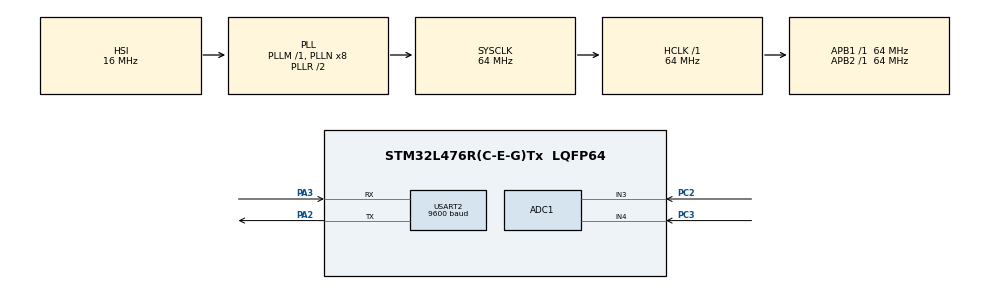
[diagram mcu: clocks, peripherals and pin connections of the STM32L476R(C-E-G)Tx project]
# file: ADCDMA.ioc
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ADC1.Channel-1\#ChannelRegularConversion=ADC_CHANNEL_3
ADC1.Channel-2\#ChannelRegularConversion=ADC_CHANNEL_4
ADC1.ContinuousConvMode=ENABLE
ADC1.DMAContinuousRequests=ENABLE
ADC1.EOCSelection=ADC_EOC_SEQ_CONV
ADC1.NbrOfConversion=2
ADC1.NbrOfConversionFlag=1
ADC1.OffsetNumber-1\#ChannelRegularConversion=ADC_OFFSET_NONE
ADC1.OffsetNumber-2\#ChannelRegularConversion=ADC_OFFSET_NONE
ADC1.Overrun=ADC_OVR_DATA_OVERWRITTEN
ADC1.Rank-1\#ChannelRegularConversion=1
ADC1.Rank-2\#ChannelRegularConversion=2
ADC1.SamplingTime-1\#ChannelRegularConversion=ADC_SAMPLETIME_2CYCLES_5
ADC1.SamplingTime-2\#ChannelRegularConversion=ADC_SAMPLETIME_2CYCLES_5
ADC1.master=1
Dma.ADC1.0.Direction=DMA_PERIPH_TO_MEMORY
Dma.ADC1.0.Instance=DMA1_Channel1
Dma.ADC1.0.MemDataAlignment=DMA_MDATAALIGN_HALFWORD
Dma.ADC1.0.MemInc=DMA_MINC_ENABLE
Dma.ADC1.0.Mode=DMA_NORMAL
Dma.ADC1.0.PeriphDataAlignment=DMA_PDATAALIGN_HALFWORD
Dma.ADC1.0.PeriphInc=DMA_PINC_DISABLE
Dma.ADC1.0.Priority=DMA_PRIORITY_LOW
Dma.Request0=ADC1
Mcu.Family=STM32L4
Mcu.Name=STM32L476R(C-E-G)Tx
Mcu.Package=LQFP64
NVIC.DMA1_Channel1_IRQn=true\:0\:0\:false\:false\:true\:false\:true\:true
NVIC.PriorityGroup=NVIC_PRIORITYGROUP_4
PA2.Mode=Asynchronous
PA2.Signal=USART2_TX
PA3.Mode=Asynchronous
PA3.Signal=USART2_RX
PC2.Signal=ADCx_IN3
PC3.Signal=ADCx_IN4
ProjectManager.HeapSize=0x200
ProjectManager.StackSize=0x400
ProjectManager.TargetToolchain=STM32CubeIDE
RCC.ADCFreq_Value=64000000
RCC.AHBFreq_Value=64000000
RCC.APB1Freq_Value=64000000
RCC.APB1TimFreq_Value=64000000
RCC.APB2Freq_Value=64000000
RCC.APB2TimFreq_Value=64000000
RCC.CortexFreq_Value=64000000
RCC.HCLKFreq_Value=64000000
RCC.HSE_VALUE=8000000
RCC.HSI_VALUE=16000000
RCC.LSE_VALUE=32768
RCC.MSI_VALUE=4000000
RCC.PLLSourceVirtual=RCC_PLLSOURCE_HSI
RCC.SYSCLKFreq_VALUE=64000000
RCC.SYSCLKSource=RCC_SYSCLKSOURCE_PLLCLK
RCC.USBFreq_Value=64000000
RCC.VCOOutputFreq_Value=128000000
SH.ADCx_IN3.0=ADC1_IN3,IN3-Single-Ended
SH.ADCx_IN4.0=ADC1_IN4,IN4-Single-Ended
USART2.BaudRate=9600
USART2.VirtualMode-Asynchronous=VM_ASYNC
board=custom

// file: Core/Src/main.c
/* USER CODE BEGIN Header */
/**
  ******************************************************************************
  * @file           : main.c
  * @brief          : Main program body
  ******************************************************************************
  * @attention
  *
  * Copyright (c) 2024 STMicroelectronics.
  * All rights reserved.
  *
  * This software is licensed under terms that can be found in the LICENSE file
  * in the root directory of this software component.
  * If no LICENSE file comes with this software, it is provided AS-IS.
  *
  ******************************************************************************
  */
/* USER CODE END Header */
#include "main.h"

/* USER CODE BEGIN Includes */
#include "stdio.h"
#include "string.h"
/* USER CODE END Includes */

/* USER CODE BEGIN PTD */
//x
/* USER CODE END PTD */

ADC_HandleTypeDef hadc1;
DMA_HandleTypeDef hdma_adc1;

UART_HandleTypeDef huart2;

/* USER CODE BEGIN PV */
uint16_t adcBuffer[2];
volatile uint8_t convCompleted=0;

void HAL_ADCConvCpltCallback(ADC_HandleTypeDef *hadc1)
{

	convCompleted =1;

}

/* USER CODE END PV */

void SystemClock_Config(void);
static void MX_GPIO_Init(void);
static void MX_DMA_Init(void);
static void MX_ADC1_Init(void);
static void MX_USART2_UART_Init(void);

int main(void)
{
  /* USER CODE BEGIN 1 */
char send[20];
float mv;
  /* USER CODE END 1 */

  /* MCU Configuration--------------------------------------------------------*/

  /* Reset of all peripherals, Initializes the Flash interface and the Systick. */
  HAL_Init();

  /* Configure the system clock */
  SystemClock_Config();

  /* Initialize all configured peripherals */
  MX_GPIO_Init();
  MX_DMA_Init();
  MX_ADC1_Init();
  MX_USART2_UART_Init();
  /* USER CODE BEGIN 2 */
HAL_ADC_Start_DMA(&hadc1, (uint32_t *)adcBuffer, 2);
  /* USER CODE END 2 */

  /* Infinite loop */
  /* USER CODE BEGIN WHILE */
  while (1)
  {
	 // while(!convCompleted);
	  HAL_ADC_Stop_DMA(&hadc1);
	  convCompleted=0;

	  mv=((float)adcBuffer[0])*3300.0/4095.0;
	  sprintf(send, "Voltage 0 input : %f\r\n", mv);
	  HAL_UART_Transmit(&huart2, send, strlen(send) , HAL_MAX_DELAY);

	  mv=((float)adcBuffer[1])*3300.0/4095.0;
	  sprintf(send, "Voltage 1 input : %f\r\n", mv);
	  HAL_UART_Transmit(&huart2, send, strlen(send) , HAL_MAX_DELAY);

	  HAL_Delay(1000);
	  HAL_ADC_Start_DMA(&hadc1, (uint32_t *)adcBuffer, 2);
    /* USER CODE END WHILE */

  }
}

void SystemClock_Config(void)
{
  RCC_OscInitTypeDef RCC_OscInitStruct = {0};
  RCC_ClkInitTypeDef RCC_ClkInitStruct = {0};

  /** Configure the main internal regulator output voltage
  */
  if (HAL_PWREx_ControlVoltageScaling(PWR_REGULATOR_VOLTAGE_SCALE1) != HAL_OK)
  {
    Error_Handler();
  }

  /** Initializes the RCC Oscillators according to the specified parameters
  * in the RCC_OscInitTypeDef structure.
  */
  RCC_OscInitStruct.OscillatorType = RCC_OSCILLATORTYPE_HSI;
  RCC_OscInitStruct.HSIState = RCC_HSI_ON;
  RCC_OscInitStruct.HSICalibrationValue = RCC_HSICALIBRATION_DEFAULT;
  RCC_OscInitStruct.PLL.PLLState = RCC_PLL_ON;
  RCC_OscInitStruct.PLL.PLLSource = RCC_PLLSOURCE_HSI;
  RCC_OscInitStruct.PLL.PLLM = 1;
  RCC_OscInitStruct.PLL.PLLN = 8;
  RCC_OscInitStruct.PLL.PLLP = RCC_PLLP_DIV7;
  RCC_OscInitStruct.PLL.PLLQ = RCC_PLLQ_DIV2;
  RCC_OscInitStruct.PLL.PLLR = RCC_PLLR_DIV2;
  if (HAL_RCC_OscConfig(&RCC_OscInitStruct) != HAL_OK)
  {
    Error_Handler();
  }

  /** Initializes the CPU, AHB and APB buses clocks
  */
  RCC_ClkInitStruct.ClockType = RCC_CLOCKTYPE_HCLK|RCC_CLOCKTYPE_SYSCLK
                              |RCC_CLOCKTYPE_PCLK1|RCC_CLOCKTYPE_PCLK2;
  RCC_ClkInitStruct.SYSCLKSource = RCC_SYSCLKSOURCE_PLLCLK;
  RCC_ClkInitStruct.AHBCLKDivider = RCC_SYSCLK_DIV1;
  RCC_ClkInitStruct.APB1CLKDivider = RCC_HCLK_DIV1;
  RCC_ClkInitStruct.APB2CLKDivider = RCC_HCLK_DIV1;

  if (HAL_RCC_ClockConfig(&RCC_ClkInitStruct, FLASH_LATENCY_3) != HAL_OK)
  {
    Error_Handler();
  }
}

static void MX_ADC1_Init(void)
{

  ADC_MultiModeTypeDef multimode = {0};
  ADC_ChannelConfTypeDef sConfig = {0};

  /** Common config
  */
  hadc1.Instance = ADC1;
  hadc1.Init.ClockPrescaler = ADC_CLOCK_ASYNC_DIV1;
  hadc1.Init.Resolution = ADC_RESOLUTION_12B;
  hadc1.Init.DataAlign = ADC_DATAALIGN_RIGHT;
  hadc1.Init.ScanConvMode = ADC_SCAN_ENABLE;
  hadc1.Init.EOCSelection = ADC_EOC_SEQ_CONV;
  hadc1.Init.LowPowerAutoWait = DISABLE;
  hadc1.Init.ContinuousConvMode = ENABLE;
  hadc1.Init.NbrOfConversion = 2;
  hadc1.Init.DiscontinuousConvMode = DISABLE;
  hadc1.Init.ExternalTrigConv = ADC_SOFTWARE_START;
  hadc1.Init.ExternalTrigConvEdge = ADC_EXTERNALTRIGCONVEDGE_NONE;
  hadc1.Init.DMAContinuousRequests = ENABLE;
  hadc1.Init.Overrun = ADC_OVR_DATA_OVERWRITTEN;
  hadc1.Init.OversamplingMode = DISABLE;
  if (HAL_ADC_Init(&hadc1) != HAL_OK)
  {
    Error_Handler();
  }

  /** Configure the ADC multi-mode
  */
  multimode.Mode = ADC_MODE_INDEPENDENT;
  if (HAL_ADCEx_MultiModeConfigChannel(&hadc1, &multimode) != HAL_OK)
  {
    Error_Handler();
  }

  /** Configure Regular Channel
  */
  sConfig.Channel = ADC_CHANNEL_3;
  sConfig.Rank = ADC_REGULAR_RANK_1;
  sConfig.SamplingTime = ADC_SAMPLETIME_2CYCLES_5;
  sConfig.SingleDiff = ADC_SINGLE_ENDED;
  sConfig.OffsetNumber = ADC_OFFSET_NONE;
  sConfig.Offset = 0;
  if (HAL_ADC_ConfigChannel(&hadc1, &sConfig) != HAL_OK)
  {
    Error_Handler();
  }

  /** Configure Regular Channel
  */
  sConfig.Channel = ADC_CHANNEL_4;
  sConfig.Rank = ADC_REGULAR_RANK_2;
  if (HAL_ADC_ConfigChannel(&hadc1, &sConfig) != HAL_OK)
  {
    Error_Handler();
  }

}

static void MX_USART2_UART_Init(void)
{

  huart2.Instance = USART2;
  huart2.Init.BaudRate = 9600;
  huart2.Init.WordLength = UART_WORDLENGTH_8B;
  huart2.Init.StopBits = UART_STOPBITS_1;
  huart2.Init.Parity = UART_PARITY_NONE;
  huart2.Init.Mode = UART_MODE_TX_RX;
  huart2.Init.HwFlowCtl = UART_HWCONTROL_NONE;
  huart2.Init.OverSampling = UART_OVERSAMPLING_16;
  huart2.Init.OneBitSampling = UART_ONE_BIT_SAMPLE_DISABLE;
  huart2.AdvancedInit.AdvFeatureInit = UART_ADVFEATURE_NO_INIT;
  if (HAL_UART_Init(&huart2) != HAL_OK)
  {
    Error_Handler();
  }

}

static void MX_DMA_Init(void)
{

  /* DMA controller clock enable */
  __HAL_RCC_DMA1_CLK_ENABLE();

  /* DMA interrupt init */
  /* DMA1_Channel1_IRQn interrupt configuration */
  HAL_NVIC_SetPriority(DMA1_Channel1_IRQn, 0, 0);
  HAL_NVIC_EnableIRQ(DMA1_Channel1_IRQn);

}

static void MX_GPIO_Init(void)
{

  /* GPIO Ports Clock Enable */
  __HAL_RCC_GPIOC_CLK_ENABLE();
  __HAL_RCC_GPIOA_CLK_ENABLE();

}

void Error_Handler(void)
{
  __disable_irq();
  while (1)
  {
  }
}
